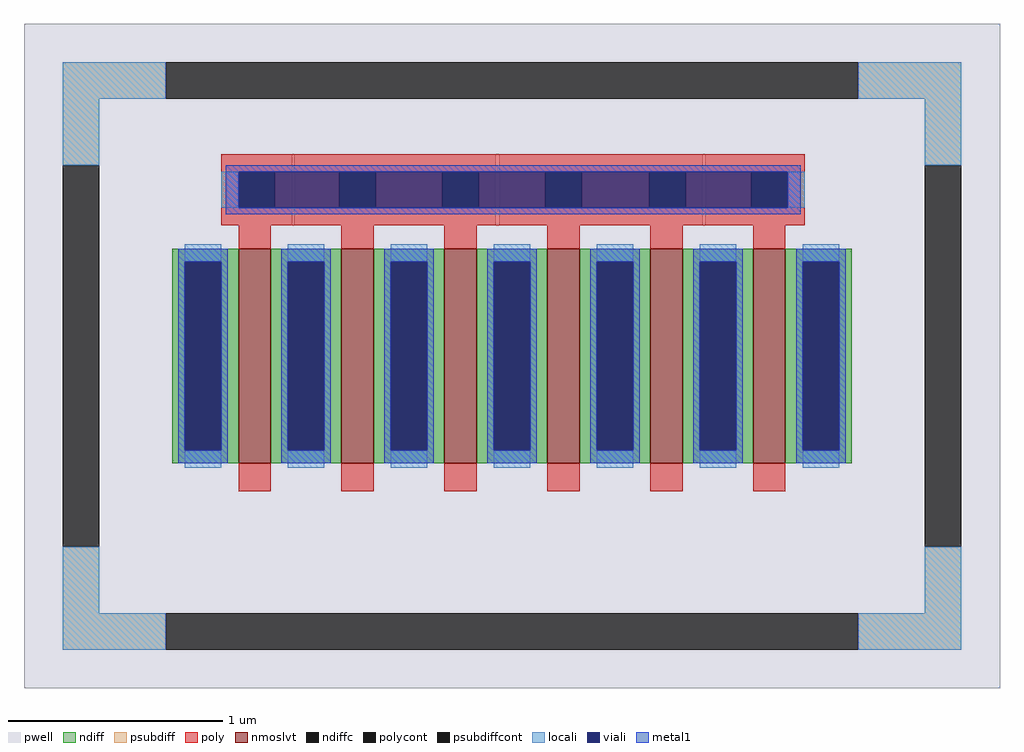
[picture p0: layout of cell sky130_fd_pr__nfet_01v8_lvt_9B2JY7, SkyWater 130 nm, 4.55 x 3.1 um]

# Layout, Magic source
magic
tech sky130A
magscale 1 2
<< pwell >>
rect -455 188 455 310
rect -455 122 -205 188
rect -203 122 -15 188
rect -12 122 178 188
rect 180 122 455 188
rect -455 -310 455 122
<< nmoslvt >>
rect -255 -100 -225 100
rect -159 -100 -129 100
rect -63 -100 -33 100
rect 33 -100 63 100
rect 129 -100 159 100
rect 225 -100 255 100
<< ndiff >>
rect -317 88 -255 100
rect -317 -88 -305 88
rect -271 -88 -255 88
rect -317 -100 -255 -88
rect -225 88 -159 100
rect -225 -88 -209 88
rect -175 -88 -159 88
rect -225 -100 -159 -88
rect -129 88 -63 100
rect -129 -88 -113 88
rect -79 -88 -63 88
rect -129 -100 -63 -88
rect -33 88 33 100
rect -33 -88 -17 88
rect 17 -88 33 88
rect -33 -100 33 -88
rect 63 88 129 100
rect 63 -88 79 88
rect 113 -88 129 88
rect 63 -100 129 -88
rect 159 88 225 100
rect 159 -88 175 88
rect 209 -88 225 88
rect 159 -100 225 -88
rect 255 88 317 100
rect 255 -88 271 88
rect 305 -88 317 88
rect 255 -100 317 -88
<< ndiffc >>
rect -305 -88 -271 88
rect -209 -88 -175 88
rect -113 -88 -79 88
rect -17 -88 17 88
rect 79 -88 113 88
rect 175 -88 209 88
rect 271 -88 305 88
<< psubdiff >>
rect -419 240 -323 274
rect 323 240 419 274
rect -419 178 -385 240
rect 385 178 419 240
rect -419 -240 -385 -178
rect 385 -240 419 -178
rect -419 -274 -323 -240
rect 323 -274 419 -240
<< psubdiffcont >>
rect -323 240 323 274
rect -419 -178 -385 178
rect 385 -178 419 178
rect -323 -274 323 -240
<< poly >>
rect -271 172 273 188
rect -271 138 -255 172
rect -221 138 -161 172
rect -127 138 -65 172
rect -31 138 31 172
rect 65 138 128 172
rect 162 138 223 172
rect 257 138 273 172
rect -271 122 273 138
rect -255 100 -225 122
rect -159 100 -129 122
rect -63 100 -33 122
rect 33 100 63 122
rect 129 100 159 122
rect 225 100 255 122
rect -255 -126 -225 -100
rect -159 -126 -129 -100
rect -63 -126 -33 -100
rect 33 -126 63 -100
rect 129 -126 159 -100
rect 225 -126 255 -100
<< polycont >>
rect -255 138 -221 172
rect -161 138 -127 172
rect -65 138 -31 172
rect 31 138 65 172
rect 128 138 162 172
rect 223 138 257 172
<< locali >>
rect -419 240 -323 274
rect 323 240 419 274
rect -419 178 -385 240
rect 385 178 419 240
rect -271 138 -255 172
rect 257 138 273 172
rect -305 88 -271 104
rect -305 -104 -271 -88
rect -209 88 -175 104
rect -209 -104 -175 -88
rect -113 88 -79 104
rect -113 -104 -79 -88
rect -17 88 17 104
rect -17 -104 17 -88
rect 79 88 113 104
rect 79 -104 113 -88
rect 175 88 209 104
rect 175 -104 209 -88
rect 271 88 305 104
rect 271 -104 305 -88
rect -419 -240 -385 -178
rect 385 -240 419 -178
rect -419 -274 -323 -240
rect 323 -274 419 -240
<< viali >>
rect -255 138 -221 172
rect -221 138 -161 172
rect -161 138 -127 172
rect -127 138 -65 172
rect -65 138 -31 172
rect -31 138 31 172
rect 31 138 65 172
rect 65 138 128 172
rect 128 138 162 172
rect 162 138 223 172
rect 223 138 257 172
rect -305 -88 -271 88
rect -209 -88 -175 88
rect -113 -88 -79 88
rect -17 -88 17 88
rect 79 -88 113 88
rect 175 -88 209 88
rect 271 -88 305 88
<< metal1 >>
rect -267 172 269 178
rect -267 138 -255 172
rect 257 138 269 172
rect -267 132 269 138
rect -311 88 -265 100
rect -311 -88 -305 88
rect -271 -88 -265 88
rect -311 -100 -265 -88
rect -215 88 -169 100
rect -215 -88 -209 88
rect -175 -88 -169 88
rect -215 -100 -169 -88
rect -119 88 -73 100
rect -119 -88 -113 88
rect -79 -88 -73 88
rect -119 -100 -73 -88
rect -23 88 23 100
rect -23 -88 -17 88
rect 17 -88 23 88
rect -23 -100 23 -88
rect 73 88 119 100
rect 73 -88 79 88
rect 113 -88 119 88
rect 73 -100 119 -88
rect 169 88 215 100
rect 169 -88 175 88
rect 209 -88 215 88
rect 169 -100 215 -88
rect 265 88 311 100
rect 265 -88 271 88
rect 305 -88 311 88
rect 265 -100 311 -88
<< properties >>
string gencell sky130_fd_pr__nfet_01v8_lvt
string FIXED_BBOX -402 -257 402 257
string parameters w 1 l 0.150 m 1 nf 6 diffcov 100 polycov 100 guard 1 glc 1 grc 1 gtc 1 gbc 1 tbcov 100 rlcov 100 topc 1 botc 1 poverlap 0 doverlap 1 lmin 0.15 wmin 0.42 compatible {sky130_fd_pr__nfet_01v8 sky130_fd_pr__nfet_01v8_lvt  sky130_fd_bs_flash__special_sonosfet_star  sky130_fd_pr__nfet_g5v0d10v5 sky130_fd_pr__nfet_05v0_nvt  sky130_fd_pr__nfet_03v3_nvt} full_metal 1 viasrc 100 viadrn 100 viagate 100 viagb 0 viagr 0 viagl 0 viagt 0
string library sky130
<< end >>
